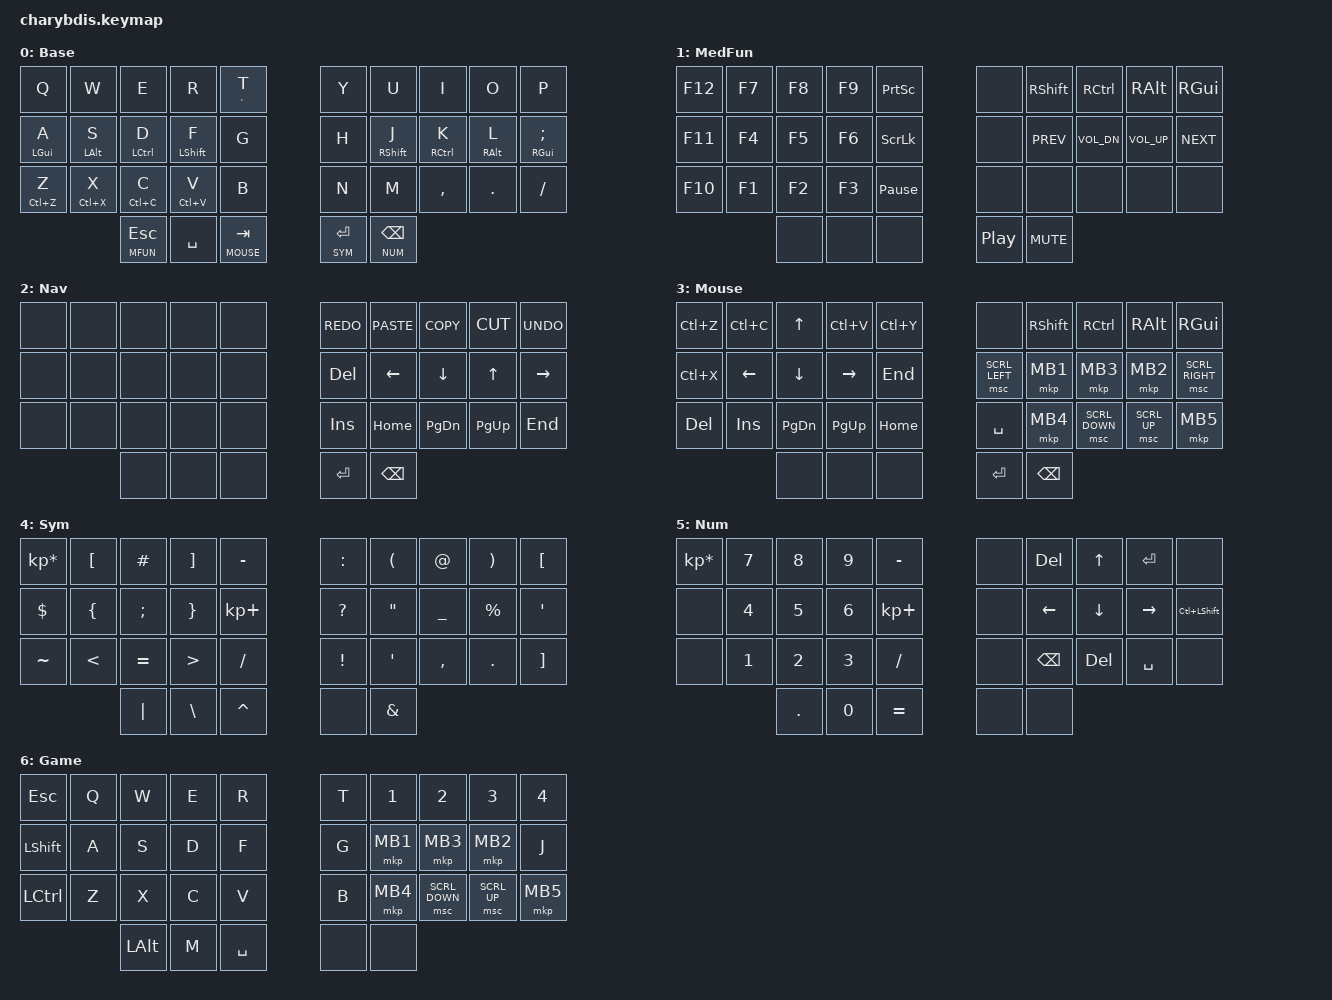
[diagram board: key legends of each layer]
#include <behaviors.dtsi>
#include <dt-bindings/zmk/keys.h>

#define ZMK_POINTING_DEFAULT_SCRL_VAL 30   // default: 10
#include <dt-bindings/zmk/pointing.h>

#define BASE 0
#define MFUN 1
#define NAV 2
#define MOUSE 3
#define SYM 4
#define NUM 5
#define GAME 6

// < 0  1  2  3  4    5  6  7  8  9  >
// < 10 11 12 13 14   15 16 17 18 19 >
// < 20 21 22 23 24   25 26 27 28 29 >
// <       30 31 32   33 34          >
#define KEYS_L 0 1 2 3 4 10 11 12 13 14 20 21 22 23 24
#define KEYS_R 5 6 7 8 9 15 16 17 18 19 25 26 27 28 29
#define THUMBS 30 31 32 33 34 35

&mt {
  flavor = "tap-preferred";
};

/* Used for thumb keys */
&lt {
  /*
   * Trigger the hold behavior when the tapping-term-ms has expired or another
   * key is pressed and released while the hold-tap is held
   */
  flavor = "balanced";
  /* How long a key must be pressed to trigger the "hold" behavior. */
  tapping-term-ms = <200>;
  /* Tap then hold to repeat. */
  quick-tap-ms = <175>;
};

/ {
    behaviors {
        hml: hml {
            compatible = "zmk,behavior-hold-tap";
            #binding-cells = <2>;
            flavor = "balanced";
            tapping-term-ms = <2000>;
            quick-tap-ms = <175>;
            require-prior-idle-ms = <250>;
            hold-trigger-key-positions = <KEYS_R THUMBS>;
            hold-trigger-on-release;
            bindings =
                <&kp>,
                <&kp>;
        };

        hmr: hmr {
            compatible = "zmk,behavior-hold-tap";
            #binding-cells = <2>;
            flavor = "balanced";
            tapping-term-ms = <2000>;
            quick-tap-ms = <175>;
            require-prior-idle-ms = <250>;
            hold-trigger-key-positions = <KEYS_L THUMBS>;
            hold-trigger-on-release;
            bindings =
                <&kp>,
                <&kp>;
        };
    };

    combos {
        compatible = "zmk,combos";
        timeout-ms = <20>;
        require-prior-idle-ms = <250>;

        combo_normal {
            key-positions = <6 8>;
            bindings = <&to BASE>;
        };
        combo_game {
            key-positions = <5 9>;
            bindings = <&to GAME>;
        };
        combo_mouse {
            key-positions = <5 8>;
            bindings = <&to MOUSE>;
        };
    };

    keymap {
        compatible = "zmk,keymap";

        base {
            display-name = "Base";
            bindings = <
// ---------------------------------     ----------------------------------
// |  Q  |  W  |  E  |  R  |   T   |     |   Y   |   U  |  I  |  O  |  P  |
// | {A} | {S} | {D} | {F} |   G   |     |   H   |  {J} | {K} | {L} | {;} |
// | (Z) | (X) | (C) | (V) |   B   |     |   N   |   M  |  ,  |  .  |  /  |
// |           | ESC | TAB | SPACE |     | ENTER | BSPC |                 |
// ---------------------------------     ---------------------------------
&kp Q       &kp W       &kp E        &kp R           &mt GRAVE T       /**/   &kp Y       &kp U         &kp I        &kp O       &kp P
&hml LGUI A &hml LALT S &hml LCTRL D &hml LSHIFT F   &kp G             /**/   &kp H       &hmr RSHIFT J &hmr RCTRL K &hmr RALT L &hmr RGUI SEMI
&mt LC(Z) Z &mt LC(X) X &mt LC(C) C  &mt LC(V) V     &kp B             /**/   &kp N       &kp M         &kp COMMA    &kp DOT     &kp FSLH
                        &lt MFUN ESC &kp SPACE   &lt MOUSE TAB         /**/   &lt SYM RET &lt NUM BSPC
            >;
        };

        media_fun {
            display-name = "MedFun";
            bindings = <
&kp F12 &kp F7 &kp F8 &kp F9 &kp PSCRN        /**/   &none            &kp RSHIFT   &kp RCTRL   &kp RALT     &kp RGUI
&kp F11 &kp F4 &kp F5 &kp F6 &kp SLCK         /**/   &none            &kp C_PREV   &kp C_VOL_DN &kp C_VOL_UP &kp C_NEXT
&kp F10 &kp F1 &kp F2 &kp F3 &kp PAUSE_BREAK  /**/   &none            &none        &none        &none        &none
               &none  &none  &none            /**/   &kp C_PLAY_PAUSE &kp C_MUTE
            >;
        };

        nav {
            display-name = "Nav";
            bindings = <
&none &none &none &none &none   /**/   &kp K_REDO &kp K_PASTE &kp K_COPY &kp K_CUT &kp K_UNDO
&none &none &none &none &none   /**/   &kp DEL    &kp LEFT    &kp DOWN   &kp UP    &kp RIGHT
&none &none &none &none &none   /**/   &kp INS    &kp HOME    &kp PG_DN  &kp PG_UP &kp END
            &none &none &none   /**/   &kp RET    &kp BSPC
            >;
        };

        mouse {
            display-name = "Mouse";
            bindings = <
&kp LC(Z)   &kp LC(C)  &kp UP       &kp LC(V)     &kp LC(Y)      /**/   &none          &kp RSHIFT     &kp RCTRL      &kp RALT     &kp RGUI
&kp LC(X)   &kp LEFT   &kp DOWN     &kp RIGHT     &kp END        /**/   &msc SCRL_LEFT &mkp MB1       &mkp MB3       &mkp MB2     &msc SCRL_RIGHT
&kp DEL     &kp INS    &kp PG_DN    &kp PG_UP     &kp HOME       /**/   &kp SPACE      &mkp MB4       &msc SCRL_DOWN &msc SCRL_UP &mkp MB5
                           &none        &none     &none          /**/   &kp RET        &kp BSPC
            >;
        };
        sym {
            display-name = "Sym";
            bindings = <    
&kp KP_MULTIPLY    &kp LBKT        &kp HASH            &kp RBKT           &kp MINUS      /**/   &kp COLON       &kp LPAR            &kp AT_SIGN    &kp RPAR     &kp LBKT
&kp DOLLAR         &kp LBRC        &kp SEMICOLON       &kp RBRC           &kp KP_PLUS    /**/   &kp QUESTION    &kp DOUBLE_QUOTES   &kp UNDER      &kp PRCNT    &kp SQT
&kp TILDE          &kp LESS_THAN   &kp EQUAL           &kp GREATER_THAN   &kp SLASH      /**/   &kp EXCLAMATION &kp SINGLE_QUOTE    &kp COMMA      &kp DOT      &kp RBKT
                                   &kp PIPE            &kp BACKSLASH      &kp CARET      /**/   &none           &kp AMPERSAND
            >;
        };

        num {
            display-name = "Num";
            bindings = <
&kp KP_MULTIPLY  &kp N7 &kp N8  &kp N9 &kp MINUS     /**/   &none     &kp DEL      &kp UP     &kp RET   &none
&none            &kp N4 &kp N5  &kp N6 &kp KP_PLUS   /**/   &none     &kp LEFT     &kp DOWN   &kp RIGHT  &kp LC(LSHIFT)
&none            &kp N1 &kp N2  &kp N3 &kp SLASH     /**/   &none     &kp BSPC     &kp DEL    &kp SPACE      &none
                 &kp DOT &kp N0 &kp EQUAL            /**/   &none     &none
            >;
        };

        game {
            display-name = "Game";
            bindings = <
&kp ESC    &kp Q &kp W    &kp E &kp R       /**/   &kp T &kp N1   &kp N2         &kp N3       &kp N4
&kp LSHIFT &kp A &kp S    &kp D &kp F       /**/   &kp G &mkp MB1 &mkp MB3       &mkp MB2     &kp J
&kp LCTRL  &kp Z &kp X    &kp C &kp V       /**/   &kp B &mkp MB4 &msc SCRL_DOWN &msc SCRL_UP &mkp MB5
                 &kp LALT &kp M &kp SPACE   /**/   &none &none
            >;
        };
    };
};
